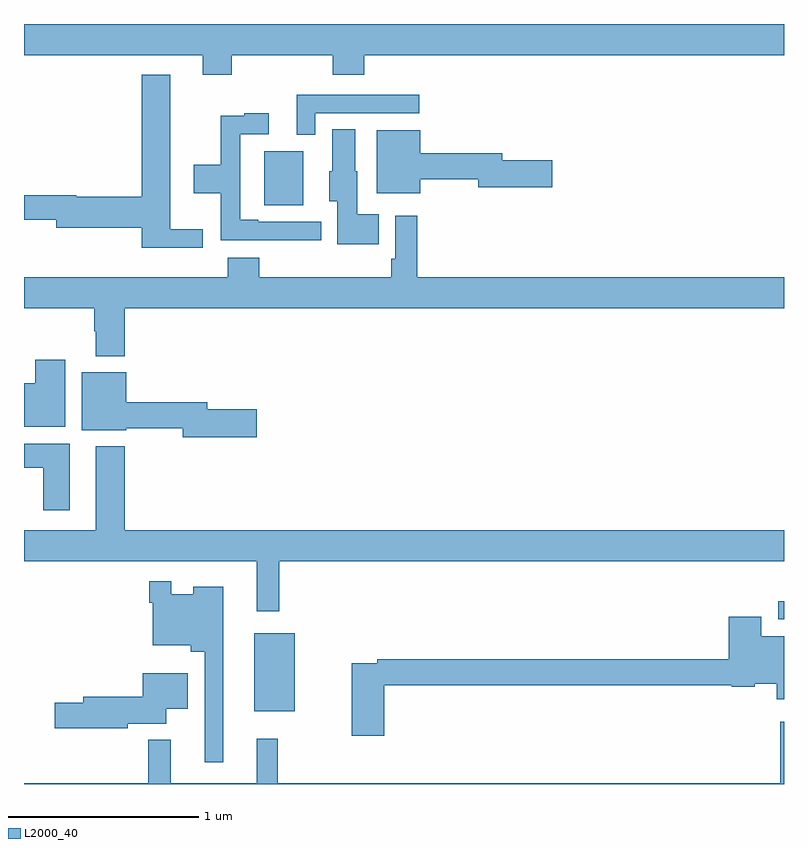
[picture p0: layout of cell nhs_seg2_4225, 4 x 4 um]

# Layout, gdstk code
import gdstk
lib = gdstk.Library(unit=1e-6, precision=1e-09)
def R(c, l, rs):  # rectangles x0, y0, x1, y1
    for r in rs: c.add(gdstk.rectangle(r[:2], r[2:], *l))
def P(c, l, *ps):  # polygons
    for p in ps: c.add(gdstk.Polygon(p, *l))
L2000_40 = (2000, 40)

nhs_seg2_4225 = lib.new_cell('nhs_seg2_4225')
R(nhs_seg2_4225, L2000_40, [(340.211,644.183,340.426,644.593), (342.969,644.667,343,644.763), (340.265,646.847,340.471,647.131)])
P(nhs_seg2_4225, L2000_40, [(340.094,647.636),(340.625,647.636),(340.625,647.534),(340.79,647.534),(340.79,647.636),(343,647.636),(343,647.8),(339,647.8),(339,647.636),(339.941,647.636),(339.941,647.534),(340.094,647.534)],
  [(339.94,646.721),(339.769,646.721),(339.769,647.533),(339.62,647.533),(339.62,646.892),(339.274,646.892),(339.274,646.898),(339,646.898),(339,646.77),(339.17,646.77),(339.17,646.727),(339.62,646.727),(339.62,646.622),(339.94,646.622)],
  [(340.533,647.331),(341.08,647.331),(341.08,647.427),(340.436,647.427),(340.436,647.216),(340.533,647.216)],
  [(340.564,646.758),(340.234,646.758),(340.234,646.771),(340.137,646.771),(340.137,647.22),(340.288,647.22),(340.288,647.329),(340.16,647.329),(340.16,647.318),(340.036,647.318),(340.036,647.058),(339.894,647.058),(339.894,646.91),(340.036,646.91),(340.036,646.662),(340.321,646.662),(340.321,646.661),(340.564,646.661)],
  [(340.868,646.798),(340.753,646.798),(340.753,647.025),(340.744,647.025),(340.744,647.246),(340.622,647.246),(340.622,647.025),(340.607,647.025),(340.607,646.866),(340.649,646.866),(340.649,646.64),(340.868,646.64)],
  [(341.086,646.984),(341.39,646.984),(341.39,646.942),(341.779,646.942),(341.779,647.084),(341.518,647.084),(341.518,647.12),(341.086,647.12),(341.086,647.242),(340.856,647.242),(340.856,646.91),(341.086,646.91)],
  [(339.53,646.304),(343,646.304),(343,646.468),(341.069,646.468),(341.069,646.792),(340.953,646.792),(340.953,646.564),(340.933,646.564),(340.933,646.468),(340.238,646.468),(340.238,646.57),(340.073,646.57),(340.073,646.468),(339,646.468),(339,646.304),(339.37,646.304),(339.37,646.184),(339.377,646.184),(339.377,646.052),(339.53,646.052)],
  [(339.217,646.033),(339.059,646.033),(339.059,645.91),(339,645.91),(339,645.68),(339.217,645.68)],
  [(340.225,645.773),(339.964,645.773),(339.964,645.809),(339.538,645.809),(339.538,645.967),(339.305,645.967),(339.305,645.662),(339.538,645.662),(339.538,645.673),(339.836,645.673),(339.836,645.626),(340.225,645.626)],
  [(339.241,645.592),(339,645.592),(339,645.464),(339.101,645.464),(339.101,645.24),(339.241,645.24)],
  [(340.343,644.972),(343,644.972),(343,645.136),(339.53,645.136),(339.53,645.577),(339.377,645.577),(339.377,645.136),(339,645.136),(339,644.972),(340.226,644.972),(340.226,644.709),(340.343,644.709)],
  [(340.048,644.839),(339.89,644.839),(339.89,644.8),(339.774,644.8),(339.774,644.866),(339.658,644.866),(339.658,644.753),(339.678,644.753),(339.678,644.531),(339.878,644.531),(339.878,644.495),(339.951,644.495),(339.951,643.914),(340.048,643.914)],
  [(340.895,644.32),(342.726,644.32),(342.726,644.312),(342.846,644.312),(342.846,644.327),(342.962,644.327),(342.962,644.246),(343,644.246),(343,644.578),(342.88,644.578),(342.88,644.68),(342.71,644.68),(342.71,644.456),(340.858,644.456),(340.858,644.436),(340.724,644.436),(340.724,644.055),(340.895,644.055)],
  [(339.546,644.117),(339.748,644.117),(339.748,644.195),(339.862,644.195),(339.862,644.383),(339.626,644.383),(339.626,644.258),(339.311,644.258),(339.311,644.228),(339.162,644.228),(339.162,644.093),(339.546,644.093)],
  [(343,644.128),(342.979,644.128),(342.979,643.804),(340.336,643.804),(340.336,644.038),(340.226,644.038),(340.226,643.804),(339.773,643.804),(339.773,644.032),(339.655,644.032),(339.655,643.804),(339,643.804),(339,643.8),(343,643.8)])

lib.write_gds('nhs_seg2_4225.gds')
